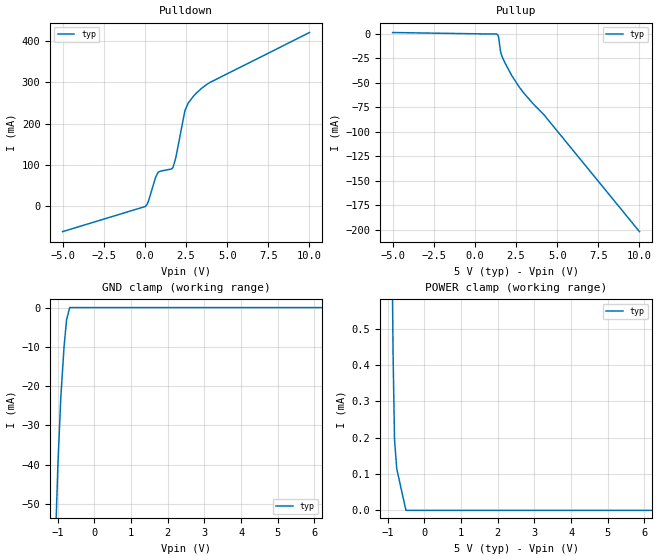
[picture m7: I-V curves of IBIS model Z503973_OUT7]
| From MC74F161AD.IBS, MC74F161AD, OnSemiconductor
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| (C) COPYRIGHT 1993-2000
| MENTOR GRAPHICS CORPORATION
| ICX STANDARD LIBRARY, ICX PROJECT MODELING,
| ICX CUSTOM MODELING, ICX VENDOR MODEL
| ALL RIGHTS RESERVED.
| THE FOLLOWING ARE TRADEMARKS OR SERVICE MARKS OF
| MENTOR GRAPHICS CORPORATION:ICX (R), ICX STANDARD
| LIBRARY(R), ICX PROJECT MODELING(R), ICX CUSTOM
| MODELING(R), qualityIBIS(TM), MODELVIEWER(TM),
| AND MODELEDITOR(TM)
| ALL COPIES OF SOFTWARE, INCLUDING BUT NOT LIMITED TO
| ANY MODIFICATIONS, ENHANCEMENTS OR DERIVATIVE WORKS,
| MUST CONTAIN ALL MENTOR GRAPHICS CORPORATION'S
| NOTICES AND LEGENDS, INCLUDING THOSE EMBEDDED IN
| SOFTWARE AND THOSE AFFIXED TO SOFTWARE MEDIUM
| AND CONTAINER, AS RECEIVED FROM MENTOR GRAPHICS
| CORPORATION.
| Model Application Version 1.89 2/18/99.
[Model] Z503973_OUT7
Model_type Output
Vref=0.000V
Rref=500.0ohms
Cref=50.00pF
Vmeas=1.500V
C_comp 8.000pF NA NA
| variable typ   min   max
[Voltage Range] 5.000V NA NA
[POWER Clamp Reference] 5.000V NA NA
[Pullup Reference] 5.000V NA NA
[Pulldown Reference] 0.000V NA NA
[GND Clamp Reference] 0.000V NA NA
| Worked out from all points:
|   slope of the pulldown table from 0 to 0.75 V, typ, clamps not added: 9.44 ohm
|   slope of the pullup table from 0 to 0.75 V, typ, clamps not added: 6.14 kohm
|   GND clamp passes 1 mA (typ) near -0.70 V on its own axis
|   POWER clamp passes 1 mA (typ) near -0.91 V on its own axis
[GND Clamp]
-5V       -1.986A    NA         NA
-1.221V   -121mA     NA         NA
-1.067V   -61.52mA   NA         NA
-990.9mV  -39.72mA   NA         NA
-911.6mV  -22.61mA   NA         NA
-825.1mV  -10.05mA   NA         NA
-755.8mV  -3.1mA     NA         NA
-671.8mV  0A         NA         NA
10V       0A         NA         NA
[Pulldown]
-5V       -63.04mA   NA         NA
48.83mV   -1.076mA   NA         NA
234.2mV   13.64mA    NA         NA
649.6mV   68.89mA    NA         NA
796.6mV   81.29mA    NA         NA
1.705V    92.74mA    NA         NA
1.88V     117.2mA    NA         NA
2.432V    231.6mA    NA         NA
2.632V    249.9mA    NA         NA
2.949V    266.5mA    NA         NA
3.951V    300mA      NA         NA
10V       421.5mA    NA         NA
[Pullup]
-5V       1.47mA     NA         NA
1.221V    83.95uA    NA         NA
1.382V    -760.8uA   NA         NA
1.455V    -4.659mA   NA         NA
1.544V    -16.47mA   NA         NA
1.599V    -20.54mA   NA         NA
1.693V    -24.64mA   NA         NA
2.232V    -42.26mA   NA         NA
2.715V    -54.73mA   NA         NA
3.535V    -71.23mA   NA         NA
4.188V    -82.37mA   NA         NA
10V       -201.9mA   NA         NA
[POWER Clamp]
-5V       59.4mA     NA         NA
-1.209V   4.664mA    NA         NA
-1.011V   2.075mA    NA         NA
-851mV    429uA      NA         NA
-812mV    195.2uA    NA         NA
-752mV    114.9uA    NA         NA
-501.3mV  0A         NA         NA
10V       0A         NA         NA
[Ramp]
| variable typ min max
dV/dt_r 2.077/1.494n NA NA
dV/dt_f 2.077/1.831n NA NA
R_load = 500.0Ohms
